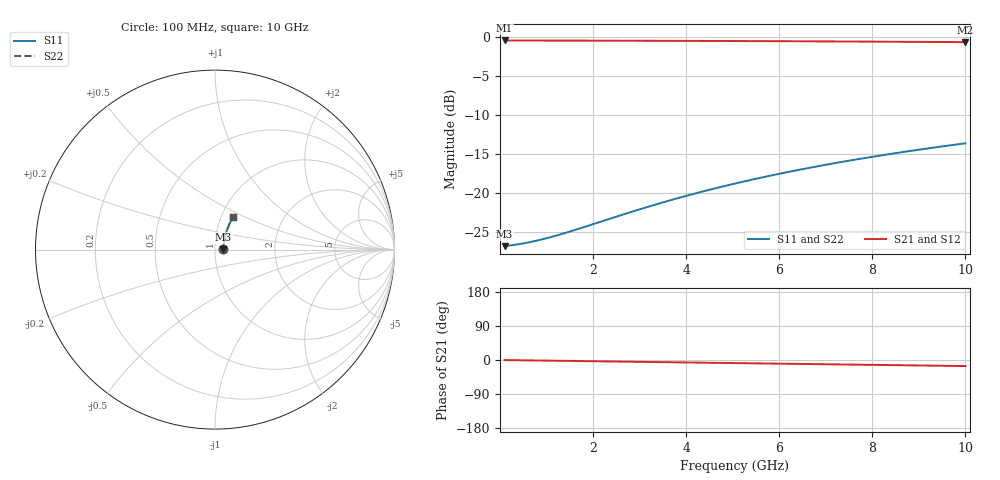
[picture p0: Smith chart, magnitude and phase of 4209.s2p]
# Hz S RI R 50.00
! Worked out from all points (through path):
!   100 points, 100 MHz to 10 GHz, reference 50 ohm
!   highest |S21| = -0.41 dB at 100 MHz (marker M1); lowest = -0.6 dB at 10 GHz (marker M2)
!   group delay of S21, straight-line fit = 4.44 ps
!   lowest |S11| = -26.8 dB at 100 MHz (marker M3), VSWR 1.10, Z = 54.8 + j0.217 ohm
!   |S11| at or under -10 dB: start of sweep to end of sweep
!   |S22| runs from -26.8 to -13.6 dB; largest |S21 - S12| = 0
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1e8  0.0459 0.00197  0.9541 -0.0027  0.9541 -0.0027  0.0459 0.00197
3e8  0.0465 0.00591  0.9535 -0.0081  0.9535 -0.0081  0.0465 0.00591
5e8  0.0469 0.00983  0.9531 -0.0135  0.9531 -0.0135  0.0469 0.00983
7e8  0.0472 0.0138  0.9528 -0.0189  0.9528 -0.0189  0.0472 0.0138
9e8  0.0476 0.0177  0.9524 -0.0243  0.9524 -0.0243  0.0476 0.0177
1.1e9  0.048 0.0216  0.952 -0.0296  0.952 -0.0296  0.048 0.0216
1.3e9  0.0484 0.0255  0.9515 -0.035  0.9515 -0.035  0.0484 0.0255
1.8e9  0.0496 0.0352  0.9503 -0.0484  0.9503 -0.0484  0.0496 0.0352
2.8e9  0.0526 0.0546  0.9472 -0.0751  0.9472 -0.0751  0.0526 0.0546
3.4e9  0.0548 0.0661  0.9448 -0.091  0.9448 -0.091  0.0548 0.0661
3.8e9  0.0565 0.0737  0.9431 -0.1015  0.9431 -0.1015  0.0565 0.0737
4.2e9  0.0584 0.0812  0.9411 -0.112  0.9411 -0.112  0.0584 0.0812
4.6e9  0.0604 0.0887  0.939 -0.1225  0.939 -0.1225  0.0604 0.0887
5.1e9  0.0632 0.098  0.9361 -0.1354  0.9361 -0.1354  0.0632 0.098
5.5e9  0.0655 0.1054  0.9336 -0.1457  0.9336 -0.1457  0.0655 0.1054
5.9e9  0.0681 0.1127  0.9309 -0.1559  0.9309 -0.1559  0.0681 0.1127
6.3e9  0.0708 0.1199  0.9281 -0.1661  0.9281 -0.1661  0.0708 0.1199
6.7e9  0.0736 0.1271  0.9251 -0.1762  0.9251 -0.1762  0.0736 0.1271
7.5e9  0.0797 0.1411  0.9187 -0.1961  0.9187 -0.1961  0.0797 0.1411
8.4e9  0.0873 0.1565  0.9107 -0.2181  0.9107 -0.2181  0.0873 0.1565
9.2e9  0.0947 0.1697  0.903 -0.2372  0.903 -0.2372  0.0947 0.1697
1e10  0.1025 0.1826  0.8947 -0.256  0.8947 -0.256  0.1025 0.1826
